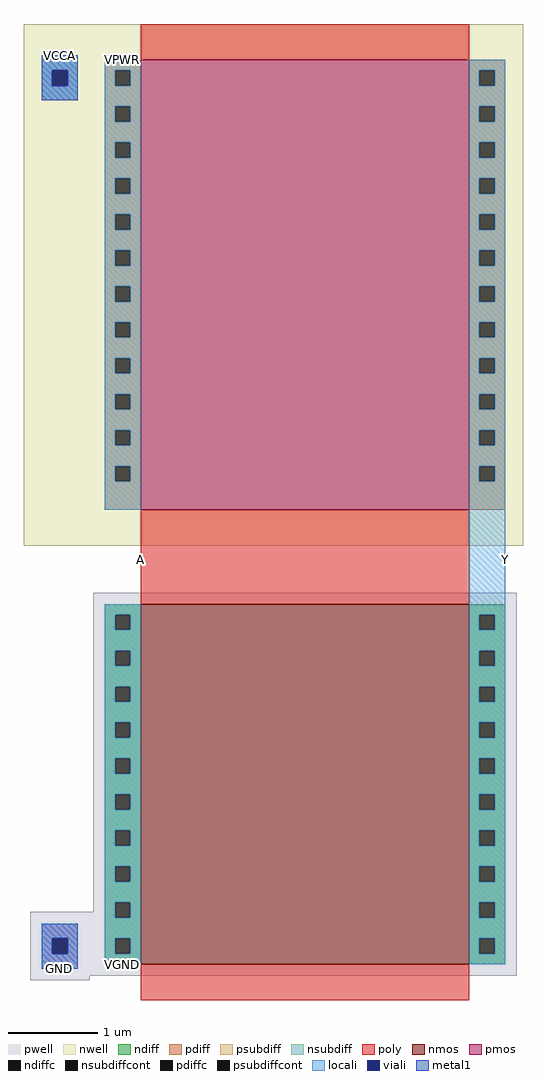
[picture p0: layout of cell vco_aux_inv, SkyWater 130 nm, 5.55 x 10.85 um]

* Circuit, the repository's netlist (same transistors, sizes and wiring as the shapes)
* NGSPICE file created from vco_aux_inv.ext - technology: sky130A

.subckt vco_aux_inv A VPWR VGND Y VCCA GND
X0 Y A VPWR VCCA sky130_fd_pr__pfet_01v8 ad=2 pd=10.8 as=2 ps=10.8 w=5 l=3.65
X1 Y A VGND GND sky130_fd_pr__nfet_01v8 ad=1.6 pd=8.8 as=1.6 ps=8.8 w=4 l=3.65
.ends

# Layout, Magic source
magic
tech sky130A
magscale 1 2
<< nwell >>
rect -260 -90 850 1070
<< pwell >>
rect -106 -904 836 -194
rect -246 -1046 836 -904
rect -246 -1056 -114 -1046
<< nmos >>
rect 0 -1020 730 -220
<< pmos >>
rect 0 -10 730 990
<< ndiff >>
rect -80 -243 0 -220
rect -80 -277 -57 -243
rect -23 -277 0 -243
rect -80 -323 0 -277
rect -80 -357 -57 -323
rect -23 -357 0 -323
rect -80 -403 0 -357
rect -80 -437 -57 -403
rect -23 -437 0 -403
rect -80 -483 0 -437
rect -80 -517 -57 -483
rect -23 -517 0 -483
rect -80 -563 0 -517
rect -80 -597 -57 -563
rect -23 -597 0 -563
rect -80 -643 0 -597
rect -80 -677 -57 -643
rect -23 -677 0 -643
rect -80 -723 0 -677
rect -80 -757 -57 -723
rect -23 -757 0 -723
rect -80 -803 0 -757
rect -80 -837 -57 -803
rect -23 -837 0 -803
rect -80 -883 0 -837
rect -80 -917 -57 -883
rect -23 -917 0 -883
rect -80 -963 0 -917
rect -80 -997 -57 -963
rect -23 -997 0 -963
rect -80 -1020 0 -997
rect 730 -243 810 -220
rect 730 -277 753 -243
rect 787 -277 810 -243
rect 730 -323 810 -277
rect 730 -357 753 -323
rect 787 -357 810 -323
rect 730 -403 810 -357
rect 730 -437 753 -403
rect 787 -437 810 -403
rect 730 -483 810 -437
rect 730 -517 753 -483
rect 787 -517 810 -483
rect 730 -563 810 -517
rect 730 -597 753 -563
rect 787 -597 810 -563
rect 730 -643 810 -597
rect 730 -677 753 -643
rect 787 -677 810 -643
rect 730 -723 810 -677
rect 730 -757 753 -723
rect 787 -757 810 -723
rect 730 -803 810 -757
rect 730 -837 753 -803
rect 787 -837 810 -803
rect 730 -883 810 -837
rect 730 -917 753 -883
rect 787 -917 810 -883
rect 730 -963 810 -917
rect 730 -997 753 -963
rect 787 -997 810 -963
rect 730 -1020 810 -997
<< pdiff >>
rect -80 967 0 990
rect -80 933 -57 967
rect -23 933 0 967
rect -80 887 0 933
rect -80 853 -57 887
rect -23 853 0 887
rect -80 807 0 853
rect -80 773 -57 807
rect -23 773 0 807
rect -80 727 0 773
rect -80 693 -57 727
rect -23 693 0 727
rect -80 647 0 693
rect -80 613 -57 647
rect -23 613 0 647
rect -80 567 0 613
rect -80 533 -57 567
rect -23 533 0 567
rect -80 487 0 533
rect -80 453 -57 487
rect -23 453 0 487
rect -80 407 0 453
rect -80 373 -57 407
rect -23 373 0 407
rect -80 327 0 373
rect -80 293 -57 327
rect -23 293 0 327
rect -80 247 0 293
rect -80 213 -57 247
rect -23 213 0 247
rect -80 167 0 213
rect -80 133 -57 167
rect -23 133 0 167
rect -80 87 0 133
rect -80 53 -57 87
rect -23 53 0 87
rect -80 -10 0 53
rect 730 967 810 990
rect 730 933 753 967
rect 787 933 810 967
rect 730 887 810 933
rect 730 853 753 887
rect 787 853 810 887
rect 730 807 810 853
rect 730 773 753 807
rect 787 773 810 807
rect 730 727 810 773
rect 730 693 753 727
rect 787 693 810 727
rect 730 647 810 693
rect 730 613 753 647
rect 787 613 810 647
rect 730 567 810 613
rect 730 533 753 567
rect 787 533 810 567
rect 730 487 810 533
rect 730 453 753 487
rect 787 453 810 487
rect 730 407 810 453
rect 730 373 753 407
rect 787 373 810 407
rect 730 327 810 373
rect 730 293 753 327
rect 787 293 810 327
rect 730 247 810 293
rect 730 213 753 247
rect 787 213 810 247
rect 730 167 810 213
rect 730 133 753 167
rect 787 133 810 167
rect 730 87 810 133
rect 730 53 753 87
rect 787 53 810 87
rect 730 -10 810 53
<< ndiffc >>
rect -57 -277 -23 -243
rect -57 -357 -23 -323
rect -57 -437 -23 -403
rect -57 -517 -23 -483
rect -57 -597 -23 -563
rect -57 -677 -23 -643
rect -57 -757 -23 -723
rect -57 -837 -23 -803
rect -57 -917 -23 -883
rect -57 -997 -23 -963
rect 753 -277 787 -243
rect 753 -357 787 -323
rect 753 -437 787 -403
rect 753 -517 787 -483
rect 753 -597 787 -563
rect 753 -677 787 -643
rect 753 -757 787 -723
rect 753 -837 787 -803
rect 753 -917 787 -883
rect 753 -997 787 -963
<< pdiffc >>
rect -57 933 -23 967
rect -57 853 -23 887
rect -57 773 -23 807
rect -57 693 -23 727
rect -57 613 -23 647
rect -57 533 -23 567
rect -57 453 -23 487
rect -57 373 -23 407
rect -57 293 -23 327
rect -57 213 -23 247
rect -57 133 -23 167
rect -57 53 -23 87
rect 753 933 787 967
rect 753 853 787 887
rect 753 773 787 807
rect 753 693 787 727
rect 753 613 787 647
rect 753 533 787 567
rect 753 453 787 487
rect 753 373 787 407
rect 753 293 787 327
rect 753 213 787 247
rect 753 133 787 167
rect 753 53 787 87
<< psubdiff >>
rect -220 -963 -140 -930
rect -220 -997 -197 -963
rect -163 -997 -140 -963
rect -220 -1030 -140 -997
<< nsubdiff >>
rect -220 967 -140 1000
rect -220 933 -197 967
rect -163 933 -140 967
rect -220 900 -140 933
<< psubdiffcont >>
rect -197 -997 -163 -963
<< nsubdiffcont >>
rect -197 933 -163 967
<< poly >>
rect 0 990 730 1070
rect 0 -220 730 -10
rect 0 -1100 730 -1020
<< locali >>
rect -220 967 -140 1000
rect -220 933 -197 967
rect -163 933 -140 967
rect -220 900 -140 933
rect -80 967 0 990
rect -80 933 -57 967
rect -23 933 0 967
rect -80 887 0 933
rect -80 853 -57 887
rect -23 853 0 887
rect -80 807 0 853
rect -80 773 -57 807
rect -23 773 0 807
rect -80 727 0 773
rect -80 693 -57 727
rect -23 693 0 727
rect -80 647 0 693
rect -80 613 -57 647
rect -23 613 0 647
rect -80 567 0 613
rect -80 533 -57 567
rect -23 533 0 567
rect -80 487 0 533
rect -80 453 -57 487
rect -23 453 0 487
rect -80 407 0 453
rect -80 373 -57 407
rect -23 373 0 407
rect -80 327 0 373
rect -80 293 -57 327
rect -23 293 0 327
rect -80 247 0 293
rect -80 213 -57 247
rect -23 213 0 247
rect -80 167 0 213
rect -80 133 -57 167
rect -23 133 0 167
rect -80 87 0 133
rect -80 53 -57 87
rect -23 53 0 87
rect -80 -10 0 53
rect 730 967 810 990
rect 730 933 753 967
rect 787 933 810 967
rect 730 887 810 933
rect 730 853 753 887
rect 787 853 810 887
rect 730 807 810 853
rect 730 773 753 807
rect 787 773 810 807
rect 730 727 810 773
rect 730 693 753 727
rect 787 693 810 727
rect 730 647 810 693
rect 730 613 753 647
rect 787 613 810 647
rect 730 567 810 613
rect 730 533 753 567
rect 787 533 810 567
rect 730 487 810 533
rect 730 453 753 487
rect 787 453 810 487
rect 730 407 810 453
rect 730 373 753 407
rect 787 373 810 407
rect 730 327 810 373
rect 730 293 753 327
rect 787 293 810 327
rect 730 247 810 293
rect 730 213 753 247
rect 787 213 810 247
rect 730 167 810 213
rect 730 133 753 167
rect 787 133 810 167
rect 730 87 810 133
rect 730 53 753 87
rect 787 53 810 87
rect -80 -243 0 -220
rect -80 -277 -57 -243
rect -23 -277 0 -243
rect -80 -323 0 -277
rect -80 -357 -57 -323
rect -23 -357 0 -323
rect -80 -403 0 -357
rect -80 -437 -57 -403
rect -23 -437 0 -403
rect -80 -483 0 -437
rect -80 -517 -57 -483
rect -23 -517 0 -483
rect -80 -563 0 -517
rect -80 -597 -57 -563
rect -23 -597 0 -563
rect -80 -643 0 -597
rect -80 -677 -57 -643
rect -23 -677 0 -643
rect -80 -723 0 -677
rect -80 -757 -57 -723
rect -23 -757 0 -723
rect -80 -803 0 -757
rect -80 -837 -57 -803
rect -23 -837 0 -803
rect -80 -883 0 -837
rect -80 -917 -57 -883
rect -23 -917 0 -883
rect -220 -963 -140 -930
rect -220 -997 -197 -963
rect -163 -997 -140 -963
rect -220 -1030 -140 -997
rect -80 -963 0 -917
rect -80 -997 -57 -963
rect -23 -997 0 -963
rect -80 -1020 0 -997
rect 730 -243 810 53
rect 730 -277 753 -243
rect 787 -277 810 -243
rect 730 -323 810 -277
rect 730 -357 753 -323
rect 787 -357 810 -323
rect 730 -403 810 -357
rect 730 -437 753 -403
rect 787 -437 810 -403
rect 730 -483 810 -437
rect 730 -517 753 -483
rect 787 -517 810 -483
rect 730 -563 810 -517
rect 730 -597 753 -563
rect 787 -597 810 -563
rect 730 -643 810 -597
rect 730 -677 753 -643
rect 787 -677 810 -643
rect 730 -723 810 -677
rect 730 -757 753 -723
rect 787 -757 810 -723
rect 730 -803 810 -757
rect 730 -837 753 -803
rect 787 -837 810 -803
rect 730 -883 810 -837
rect 730 -917 753 -883
rect 787 -917 810 -883
rect 730 -963 810 -917
rect 730 -997 753 -963
rect 787 -997 810 -963
rect 730 -1020 810 -997
<< viali >>
rect -197 933 -163 967
rect -197 -997 -163 -963
<< metal1 >>
rect -220 967 -140 1000
rect -220 933 -197 967
rect -163 933 -140 967
rect -220 900 -140 933
rect -220 -963 -140 -930
rect -220 -997 -197 -963
rect -163 -997 -140 -963
rect -220 -1030 -140 -997
<< labels >>
rlabel poly s 0 -120 0 -120 4 A
rlabel locali s -40 990 -40 990 4 VPWR
rlabel locali s -40 -1020 -40 -1020 4 VGND
rlabel locali s 810 -120 810 -120 4 Y
rlabel metal1 s -180 1000 -180 1000 4 VCCA
rlabel metal1 s -180 -1030 -180 -1030 4 GND
<< end >>
